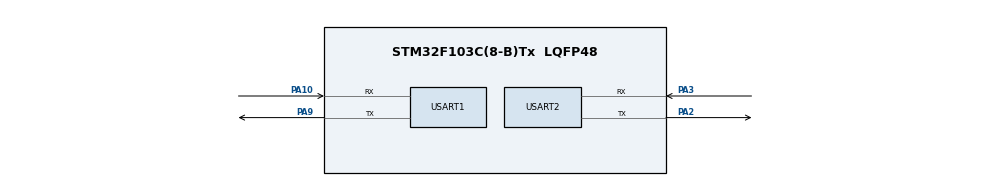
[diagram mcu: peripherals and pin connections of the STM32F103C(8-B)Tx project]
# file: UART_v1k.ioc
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Mcu.Family=STM32F1
Mcu.Name=STM32F103C(8-B)Tx
Mcu.Package=LQFP48
NVIC.PriorityGroup=NVIC_PRIORITYGROUP_4
NVIC.USART1_IRQn=true\:0\:0\:false\:false\:true\:true\:true\:true
NVIC.USART2_IRQn=true\:0\:0\:false\:false\:true\:true\:true\:true
PA10.Mode=Asynchronous
PA10.Signal=USART1_RX
PA13.Mode=Serial_Wire
PA13.Signal=SYS_JTMS-SWDIO
PA14.Mode=Serial_Wire
PA14.Signal=SYS_JTCK-SWCLK
PA2.Mode=Asynchronous
PA2.Signal=USART2_TX
PA3.Mode=Asynchronous
PA3.Signal=USART2_RX
PA9.Mode=Asynchronous
PA9.Signal=USART1_TX
PD0-OSC_IN.Mode=HSE-External-Oscillator
PD0-OSC_IN.Signal=RCC_OSC_IN
PD1-OSC_OUT.Mode=HSE-External-Oscillator
PD1-OSC_OUT.Signal=RCC_OSC_OUT
ProjectManager.HeapSize=0x200
ProjectManager.StackSize=0x400
ProjectManager.TargetToolchain=MDK-ARM V5.27
RCC.APB1Freq_Value=8000000
RCC.APB2Freq_Value=8000000
USART1.VirtualMode=VM_ASYNC
USART2.VirtualMode=VM_ASYNC
board=custom

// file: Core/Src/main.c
/* USER CODE BEGIN Header */
/**
  ******************************************************************************
  * @file           : main.c
  * @brief          : Main program body
  ******************************************************************************
  * @attention
  *
  * Copyright (c) 2023 STMicroelectronics.
  * All rights reserved.
  *
  * This software is licensed under terms that can be found in the LICENSE file
  * in the root directory of this software component.
  * If no LICENSE file comes with this software, it is provided AS-IS.
  *
  ******************************************************************************
  */
/* USER CODE END Header */
#include "main.h"

UART_HandleTypeDef huart1;
UART_HandleTypeDef huart2;

void SystemClock_Config(void);
static void MX_GPIO_Init(void);
static void MX_USART1_UART_Init(void);
static void MX_USART2_UART_Init(void);

/* USER CODE BEGIN 0 */
uint8_t data_rx;
uint8_t Txdata[] = " xin chao moi nguoi";
uint8_t data_uart;
#define UART_LEN	20
uint8_t buff_uart[UART_LEN];
uint8_t index_uart = 0;
uint8_t flag_uart = 0;
HAL_StatusTypeDef UART_Receive(UART_HandleTypeDef *huart, uint8_t *pData, uint16_t Size)
{
  uint32_t tmp = 0;

  tmp = huart->RxState;
  if((tmp == HAL_UART_STATE_READY) || (tmp == HAL_UART_STATE_BUSY_TX))
  {
    if((pData == NULL ) || (Size == 0))
    {
      return HAL_ERROR;
    }

    /* Process Locked */
    __HAL_LOCK(huart);

    huart->pRxBuffPtr = pData;
    huart->RxXferSize = Size;
    huart->RxXferCount = Size;

    huart->ErrorCode = HAL_UART_ERROR_NONE;
    /* Check if a transmit process is ongoing or not */
    if(huart->RxState == HAL_UART_STATE_BUSY_TX)
    {
      huart->RxState = HAL_UART_STATE_BUSY_TX_RX;
    }
    else
    {
      huart->RxState = HAL_UART_STATE_BUSY_RX;
    }

    /* Enable the UART Parity Error Interrupt */
    __HAL_UART_ENABLE_IT(huart, UART_IT_PE);

    /* Enable the UART Error Interrupt: (Frame error, noise error, overrun error) */
    __HAL_UART_ENABLE_IT(huart, UART_IT_ERR);

    /* Process Unlocked */
    __HAL_UNLOCK(huart);

    /* Enable the UART Data Register not empty Interrupt */
    __HAL_UART_ENABLE_IT(huart, UART_IT_RXNE);

    return HAL_OK;
  }
  else
  {
    return HAL_BUSY;
  }
}

void HAL_UART_RxCpltCallback(UART_HandleTypeDef *huart)
{
	if(huart->Instance == huart2.Instance)
	{
		if(data_uart != '\n')
		{
			buff_uart[index_uart++] = data_uart;
		}
		else
		{
			flag_uart = 1;
		}
		UART_Receive(&huart2,&data_uart,1);
	}
}
/* USER CODE END 0 */

int main(void)
{

  /* MCU Configuration--------------------------------------------------------*/

  /* Reset of all peripherals, Initializes the Flash interface and the Systick. */
  HAL_Init();

  /* Configure the system clock */
  SystemClock_Config();

  /* Initialize all configured peripherals */
  MX_GPIO_Init();
  MX_USART1_UART_Init();
  MX_USART2_UART_Init();
  /* USER CODE BEGIN 2 */
	UART_Receive(&huart2,&data_rx,1);
  /* USER CODE END 2 */

  /* Infinite loop */
  while (1)
  {

    /* USER CODE BEGIN 3 */
		HAL_UART_Transmit(&huart1,Txdata,sizeof(Txdata),10);
		HAL_Delay(1000);
  }
  /* USER CODE END 3 */
}

void SystemClock_Config(void)
{
  RCC_OscInitTypeDef RCC_OscInitStruct = {0};
  RCC_ClkInitTypeDef RCC_ClkInitStruct = {0};

  /** Initializes the RCC Oscillators according to the specified parameters
  * in the RCC_OscInitTypeDef structure.
  */
  RCC_OscInitStruct.OscillatorType = RCC_OSCILLATORTYPE_HSI;
  RCC_OscInitStruct.HSIState = RCC_HSI_ON;
  RCC_OscInitStruct.HSICalibrationValue = RCC_HSICALIBRATION_DEFAULT;
  RCC_OscInitStruct.PLL.PLLState = RCC_PLL_NONE;
  if (HAL_RCC_OscConfig(&RCC_OscInitStruct) != HAL_OK)
  {
    Error_Handler();
  }

  /** Initializes the CPU, AHB and APB buses clocks
  */
  RCC_ClkInitStruct.ClockType = RCC_CLOCKTYPE_HCLK|RCC_CLOCKTYPE_SYSCLK
                              |RCC_CLOCKTYPE_PCLK1|RCC_CLOCKTYPE_PCLK2;
  RCC_ClkInitStruct.SYSCLKSource = RCC_SYSCLKSOURCE_HSI;
  RCC_ClkInitStruct.AHBCLKDivider = RCC_SYSCLK_DIV1;
  RCC_ClkInitStruct.APB1CLKDivider = RCC_HCLK_DIV1;
  RCC_ClkInitStruct.APB2CLKDivider = RCC_HCLK_DIV1;

  if (HAL_RCC_ClockConfig(&RCC_ClkInitStruct, FLASH_LATENCY_0) != HAL_OK)
  {
    Error_Handler();
  }
}

static void MX_USART1_UART_Init(void)
{

  huart1.Instance = USART1;
  huart1.Init.BaudRate = 115200;
  huart1.Init.WordLength = UART_WORDLENGTH_8B;
  huart1.Init.StopBits = UART_STOPBITS_1;
  huart1.Init.Parity = UART_PARITY_NONE;
  huart1.Init.Mode = UART_MODE_TX_RX;
  huart1.Init.HwFlowCtl = UART_HWCONTROL_NONE;
  huart1.Init.OverSampling = UART_OVERSAMPLING_16;
  if (HAL_UART_Init(&huart1) != HAL_OK)
  {
    Error_Handler();
  }

}

static void MX_USART2_UART_Init(void)
{

  huart2.Instance = USART2;
  huart2.Init.BaudRate = 115200;
  huart2.Init.WordLength = UART_WORDLENGTH_8B;
  huart2.Init.StopBits = UART_STOPBITS_1;
  huart2.Init.Parity = UART_PARITY_NONE;
  huart2.Init.Mode = UART_MODE_TX_RX;
  huart2.Init.HwFlowCtl = UART_HWCONTROL_NONE;
  huart2.Init.OverSampling = UART_OVERSAMPLING_16;
  if (HAL_UART_Init(&huart2) != HAL_OK)
  {
    Error_Handler();
  }

}

static void MX_GPIO_Init(void)
{

  /* GPIO Ports Clock Enable */
  __HAL_RCC_GPIOD_CLK_ENABLE();
  __HAL_RCC_GPIOA_CLK_ENABLE();

}

void Error_Handler(void)
{
  __disable_irq();
  while (1)
  {
  }
}
